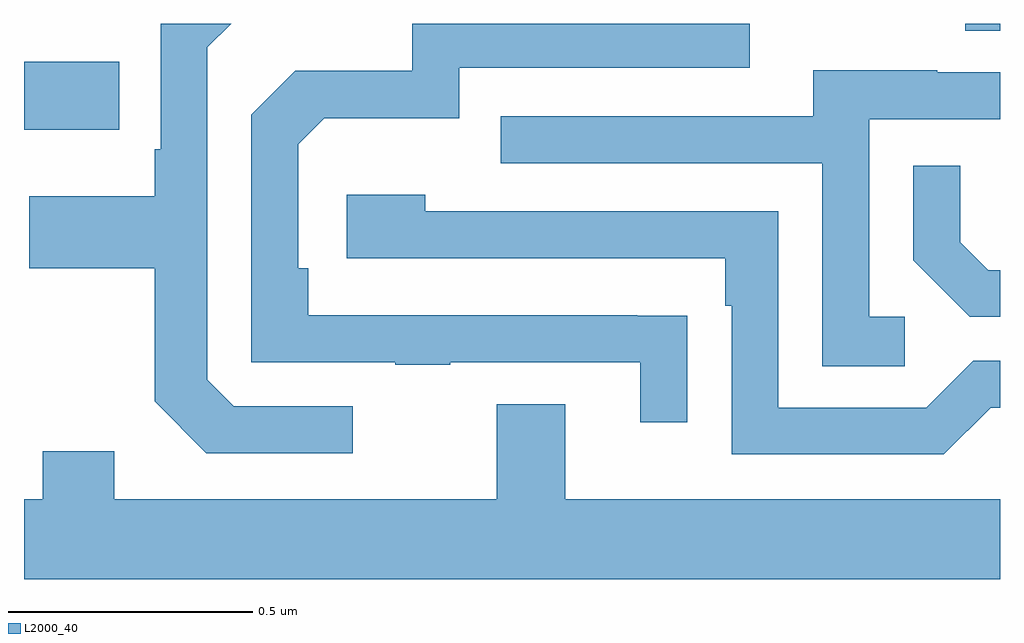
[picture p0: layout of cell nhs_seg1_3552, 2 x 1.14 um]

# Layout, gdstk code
import gdstk
lib = gdstk.Library(unit=1e-6, precision=1e-09)
def R(c, l, rs):  # rectangles x0, y0, x1, y1
    for r in rs: c.add(gdstk.rectangle(r[:2], r[2:], *l))
def P(c, l, *ps):  # polygons
    for p in ps: c.add(gdstk.Polygon(p, *l))
L2000_40 = (2000, 40)

nhs_seg1_3552 = lib.new_cell('nhs_seg1_3552')
R(nhs_seg1_3552, L2000_40, [(155,557.981,155.195,558.121), (156.929,558.184,157,558.199)])
P(nhs_seg1_3552, L2000_40, [(156.359,557.6),(156.257,557.6),(156.257,557.601),(155.582,557.601),(155.582,557.698),(155.562,557.698),(155.562,557.952),(155.615,558.005),(155.892,558.005),(155.892,558.108),(156.487,558.108),(156.487,558.199),(155.796,558.199),(155.796,558.102),(155.556,558.102),(155.466,558.012),(155.466,557.505),(155.761,557.505),(155.761,557.5),(155.873,557.5),(155.873,557.505),(156.263,557.505),(156.263,557.382),(156.359,557.382)],
  [(155.674,557.415),(155.43,557.415),(155.376,557.469),(155.376,558.15),(155.425,558.199),(155.28,558.199),(155.28,557.941),(155.268,557.941),(155.268,557.845),(155.011,557.845),(155.011,557.698),(155.268,557.698),(155.268,557.425),(155.373,557.319),(155.674,557.319)],
  [(156.805,557.598),(156.732,557.598),(156.732,558.003),(157,558.003),(157,558.099),(156.871,558.099),(156.871,558.103),(156.617,558.103),(156.617,558.009),(155.977,558.009),(155.977,557.913),(156.636,557.913),(156.636,557.497),(156.805,557.497)],
  [(157,557.694),(156.976,557.694),(156.919,557.751),(156.919,557.908),(156.822,557.908),(156.822,557.714),(156.938,557.598),(157,557.598)],
  [(156.981,557.412),(157,557.412),(157,557.508),(156.945,557.508),(156.849,557.412),(156.546,557.412),(156.546,557.814),(155.822,557.814),(155.822,557.848),(155.661,557.848),(155.661,557.718),(156.437,557.718),(156.437,557.621),(156.45,557.621),(156.45,557.316),(156.885,557.316)],
  [(157,557.224),(156.109,557.224),(156.109,557.419),(155.969,557.419),(155.969,557.224),(155.185,557.224),(155.185,557.323),(155.038,557.323),(155.038,557.224),(155,557.224),(155,557.06),(157,557.06)])

lib.write_gds('nhs_seg1_3552.gds')
